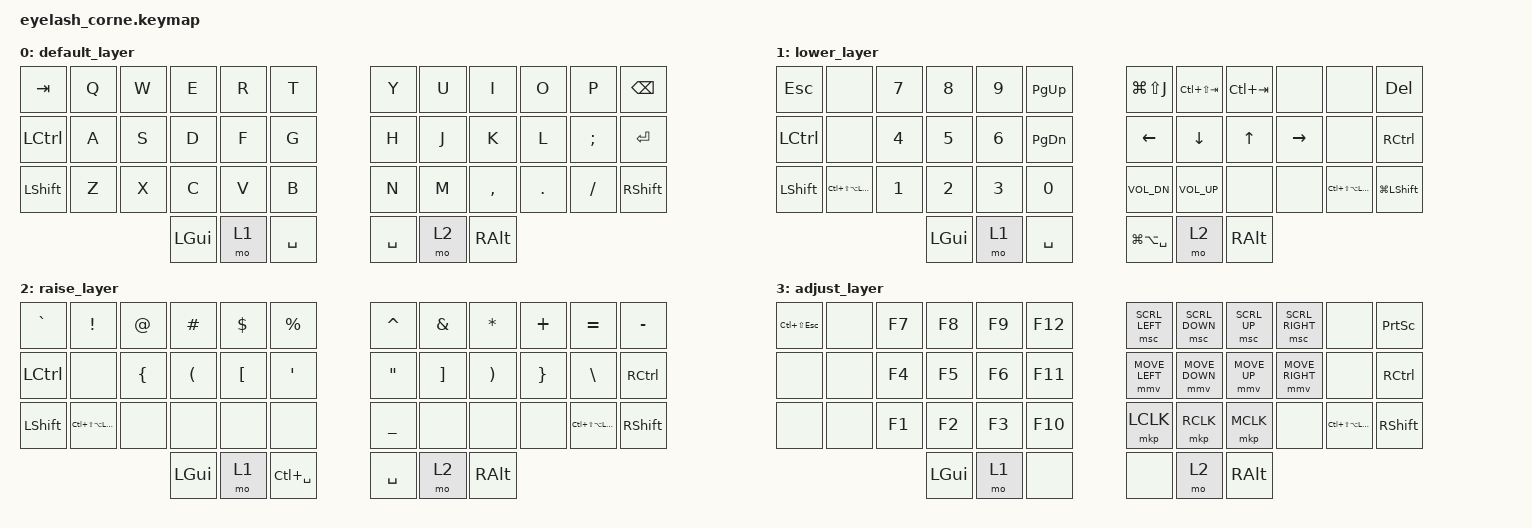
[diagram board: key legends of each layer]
#define ZMK_POINTING_DEFAULT_MOVE_VAL 1200  // 600
#define ZMK_POINTING_DEFAULT_SCRL_VAL 25   // 10

#include <input/processors.dtsi>
#include <zephyr/dt-bindings/input/input-event-codes.h>
#include <behaviors.dtsi>
#include <dt-bindings/zmk/bt.h>
#include <dt-bindings/zmk/keys.h>
#include <dt-bindings/zmk/outputs.h>
#include <dt-bindings/zmk/pointing.h>
#include <dt-bindings/zmk/rgb.h>

&mmv_input_listener { input-processors = <&zip_xy_scaler 2 1>; };

&msc_input_listener { input-processors = <&zip_scroll_scaler 2 1>; };

&msc {
    acceleration-exponent = <1>;      // 0
    time-to-max-speed-ms = <100>;       // 300
    delay-ms = <0>;                   // 0
};

&mmv {
    time-to-max-speed-ms = <500>;
    acceleration-exponent = <1>;
    trigger-period-ms = <16>;
};

&soft_off { hold-time-ms = <2000>; };

/ {
    behaviors {
        td0: td0 {
            compatible = "zmk,behavior-tap-dance";
            display-name = "Shift/Caps Lock Tap Dance";
            #binding-cells = <0>;
            bindings = <&kp LEFT_SHIFT>, <&kp CAPS>;
        };
    };

    rgb_encoder: rgb_encoder {
        compatible = "zmk,behavior-sensor-rotate";
        #sensor-binding-cells = <0>;
        bindings = <&rgb_ug RGB_BRI>, <&rgb_ug RGB_BRD>;
    };

    scroll_encoder: scroll_encoder {
        compatible = "zmk,behavior-sensor-rotate";
        #sensor-binding-cells = <0>;
        bindings = <&msc SCRL_DOWN>, <&msc SCRL_UP>;

        tap-ms = <100>;
    };

    combos {
        compatible = "zmk,combos";

        softoff {
            bindings = <&soft_off>;
            key-positions = <1 15 29>;
        };
    };

    keymap {
        compatible = "zmk,keymap";

        default_layer {
            bindings = <
&kp TAB    &kp Q  &kp W  &kp E     &kp R  &kp T        &kp Y      &kp U  &kp I      &kp O    &kp P     &kp BSPC
&kp LCTRL  &kp A  &kp S  &kp D     &kp F  &kp G        &kp H      &kp J  &kp K      &kp L    &kp SEMI  &kp RET
&kp LSHFT  &kp Z  &kp X  &kp C     &kp V  &kp B        &kp N      &kp M  &kp COMMA  &kp DOT  &kp FSLH  &kp RSHFT
                         &kp LGUI  &mo 1  &kp SPACE    &kp SPACE  &mo 2  &kp RALT
            >;
        };

        lower_layer {
            bindings = <
&kp ESC    &none                 &kp N7  &kp N8    &kp N9  &kp PAGE_UP      &kp LG(LS(J))      &kp LC(LS(TAB))  &kp LC(TAB)  &none      &none                 &kp DELETE
&kp LCTRL  &none                 &kp N4  &kp N5    &kp N6  &kp PAGE_DOWN    &kp LEFT           &kp DOWN         &kp UP       &kp RIGHT  &none                 &kp RCTRL
&kp LSHFT  &kp LC(LS(LA(LGUI)))  &kp N1  &kp N2    &kp N3  &kp N0           &kp C_VOL_DN       &kp C_VOL_UP     &none        &none      &kp LC(LS(LA(LGUI)))  &kp LG(LSHFT)
                                         &kp LGUI  &mo 1   &kp SPACE        &kp LG(LA(SPACE))  &mo 2            &kp RALT
            >;
        };

        raise_layer {
            bindings = <
&kp GRAVE  &kp EXCL              &kp AT          &kp POUND             &kp DOLLAR        &kp PERCENT      &kp CARET          &kp AMPS           &kp STAR               &kp PLUS         &kp EQUAL             &kp MINUS
&kp LCTRL  &none                 &kp LEFT_BRACE  &kp LEFT_PARENTHESIS  &kp LEFT_BRACKET  &kp SQT          &kp DOUBLE_QUOTES  &kp RIGHT_BRACKET  &kp RIGHT_PARENTHESIS  &kp RIGHT_BRACE  &kp BACKSLASH         &kp RCTRL
&kp LSHFT  &kp LC(LS(LA(LGUI)))  &none           &none                 &none             &none            &kp UNDER          &none              &none                  &none            &kp LC(LS(LA(LGUI)))  &kp RSHFT
                                                 &kp LGUI              &mo 1             &kp LC(SPACE)    &kp SPACE          &mo 2              &kp RALT
            >;
        };

        adjust_layer {
            bindings = <
&kp LC(LS(ESC))  &none  &kp F7  &kp F8    &kp F9  &kp F12    &msc SCRL_LEFT  &msc SCRL_DOWN  &msc SCRL_UP  &msc SCRL_RIGHT  &none                 &kp PRINTSCREEN
&none            &none  &kp F4  &kp F5    &kp F6  &kp F11    &mmv MOVE_LEFT  &mmv MOVE_DOWN  &mmv MOVE_UP  &mmv MOVE_RIGHT  &none                 &kp RCTRL
&none            &none  &kp F1  &kp F2    &kp F3  &kp F10    &mkp LCLK       &mkp RCLK       &mkp MCLK     &none            &kp LC(LS(LA(LGUI)))  &kp RSHFT
                                &kp LGUI  &mo 1   &none      &none           &mo 2           &kp RALT
            >;
        };
    };

    conditional_layers {
        compatible = "zmk,conditional-layers";

        adjust_condition {
            if-layers = <1 2>;
            then-layer = <3>;
        };
    };
};

